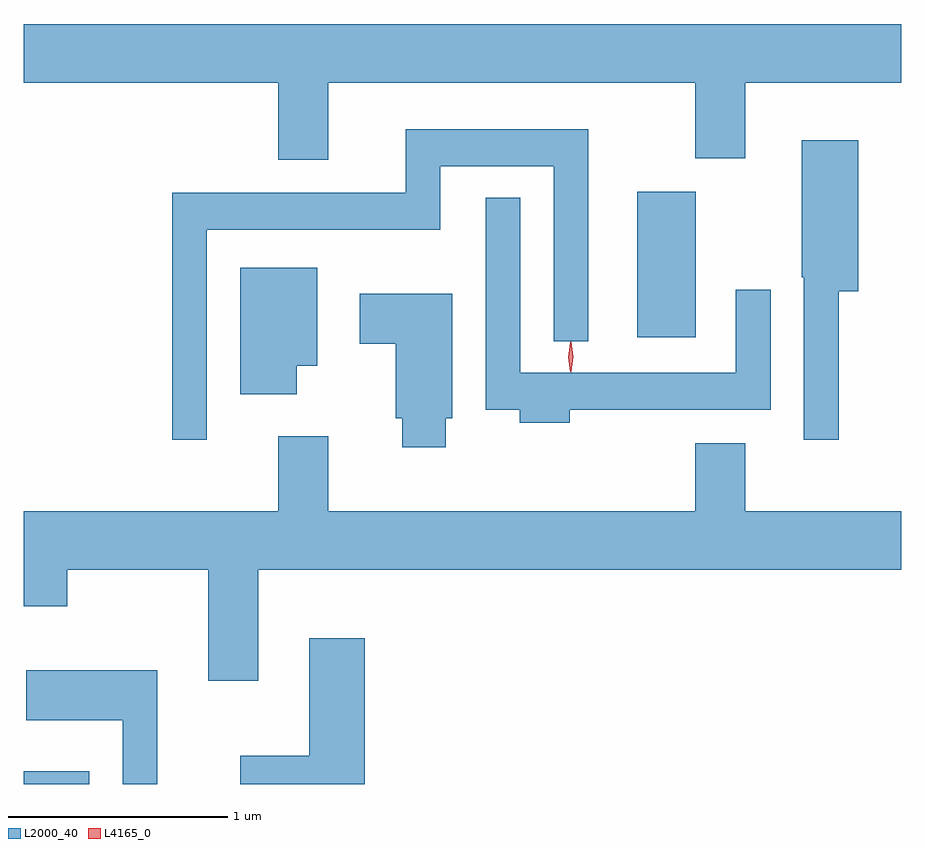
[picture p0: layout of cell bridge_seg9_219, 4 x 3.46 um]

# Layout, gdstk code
import gdstk
lib = gdstk.Library(unit=1e-6, precision=1e-09)
def R(c, l, rs):  # rectangles x0, y0, x1, y1
    for r in rs: c.add(gdstk.rectangle(r[:2], r[2:], *l))
def P(c, l, *ps):  # polygons
    for p in ps: c.add(gdstk.Polygon(p, *l))
L2000_40 = (2000, 40)
L4165_0 = (4165, 0)

bridge_seg9_219 = lib.new_cell('bridge_seg9_219')
R(bridge_seg9_219, L2000_40, [(1488.22,1946.44,1488.519,1946.499), (1491.016,1948.476,1491.284,1949.139)])
P(bridge_seg9_219, L2000_40, [(1489.609,1949.636),(1491.281,1949.636),(1491.281,1949.291),(1491.509,1949.291),(1491.509,1949.636),(1492.22,1949.636),(1492.22,1949.904),(1488.22,1949.904),(1488.22,1949.636),(1489.381,1949.636),(1489.381,1949.286),(1489.609,1949.286)],
  [(1489.054,1948.966),(1490.119,1948.966),(1490.119,1949.256),(1490.636,1949.256),(1490.636,1948.458),(1490.794,1948.458),(1490.794,1949.424),(1489.961,1949.424),(1489.961,1949.134),(1488.896,1949.134),(1488.896,1948.008),(1489.054,1948.008)],
  [(1491.934,1948.686),(1492.024,1948.686),(1492.024,1949.374),(1491.766,1949.374),(1491.766,1948.75),(1491.776,1948.75),(1491.776,1948.008),(1491.934,1948.008)],
  [(1490.709,1948.146),(1491.624,1948.146),(1491.624,1948.693),(1491.466,1948.693),(1491.466,1948.314),(1490.484,1948.314),(1490.484,1949.113),(1490.326,1949.113),(1490.326,1948.146),(1490.481,1948.146),(1490.481,1948.086),(1490.709,1948.086)],
  [(1489.464,1948.346),(1489.559,1948.346),(1489.559,1948.794),(1489.206,1948.794),(1489.206,1948.216),(1489.464,1948.216)],
  [(1490.144,1948.106),(1490.174,1948.106),(1490.174,1948.674),(1489.751,1948.674),(1489.751,1948.446),(1489.916,1948.446),(1489.916,1948.106),(1489.946,1948.106),(1489.946,1947.976),(1490.144,1947.976)],
  [(1489.289,1947.416),(1492.22,1947.416),(1492.22,1947.684),(1491.509,1947.684),(1491.509,1947.994),(1491.281,1947.994),(1491.281,1947.684),(1489.609,1947.684),(1489.609,1948.024),(1489.381,1948.024),(1489.381,1947.684),(1488.22,1947.684),(1488.22,1947.251),(1488.419,1947.251),(1488.419,1947.416),(1489.061,1947.416),(1489.061,1946.911),(1489.289,1946.911)],
  [(1489.774,1947.104),(1489.521,1947.104),(1489.521,1946.569),(1489.206,1946.569),(1489.206,1946.44),(1489.774,1946.44)],
  [(1488.829,1946.959),(1488.231,1946.959),(1488.231,1946.731),(1488.671,1946.731),(1488.671,1946.44),(1488.829,1946.44)])
P(bridge_seg9_219, L4165_0, [(1490.712,1948.319),(1490.711,1948.32),(1490.702,1948.386),(1490.712,1948.452),(1490.712,1948.453),(1490.712,1948.452),(1490.722,1948.386),(1490.712,1948.32)],
  [(1490.715,1948.317),(1490.714,1948.318),(1490.705,1948.387),(1490.714,1948.456),(1490.715,1948.456),(1490.715,1948.456),(1490.725,1948.387),(1490.715,1948.318)])

lib.write_gds('bridge_seg9_219.gds')
